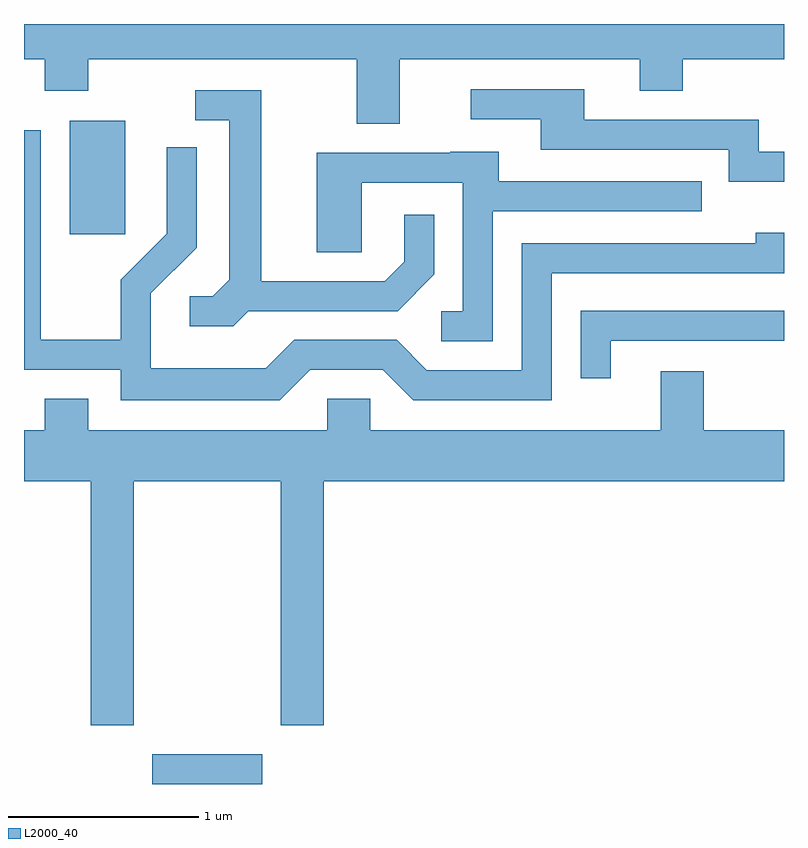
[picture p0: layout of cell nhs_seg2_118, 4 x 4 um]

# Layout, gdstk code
import gdstk
lib = gdstk.Library(unit=1e-6, precision=1e-09)
def R(c, l, rs):  # rectangles x0, y0, x1, y1
    for r in rs: c.add(gdstk.rectangle(r[:2], r[2:], *l))
def P(c, l, *ps):  # polygons
    for p in ps: c.add(gdstk.Polygon(p, *l))
L2000_40 = (2000, 40)

nhs_seg2_118 = lib.new_cell('nhs_seg2_118')
R(nhs_seg2_118, L2000_40, [(188.286,1077.802,188.864,1077.959), (187.851,1080.696,188.144,1081.294)])
P(nhs_seg2_118, L2000_40, [(189.589,1081.616),(190.851,1081.616),(190.851,1081.451),(191.079,1081.451),(191.079,1081.616),(191.611,1081.616),(191.611,1081.802),(187.611,1081.802),(187.611,1081.616),(187.721,1081.616),(187.721,1081.451),(187.949,1081.451),(187.949,1081.616),(189.361,1081.616),(189.361,1081.276),(189.589,1081.276)],
  [(191.611,1081.129),(191.479,1081.129),(191.479,1081.299),(190.559,1081.299),(190.559,1081.459),(189.963,1081.459),(189.963,1081.301),(190.331,1081.301),(190.331,1081.141),(191.321,1081.141),(191.321,1080.971),(191.611,1080.971)],
  [(188.792,1080.291),(189.577,1080.291),(189.769,1080.484),(189.769,1080.798),(189.611,1080.798),(189.611,1080.552),(189.509,1080.449),(188.859,1080.449),(188.859,1081.454),(188.513,1081.454),(188.513,1081.296),(188.691,1081.296),(188.691,1080.457),(188.604,1080.369),(188.483,1080.369),(188.483,1080.211),(188.712,1080.211)],
  [(189.117,1079.981),(189.499,1079.981),(189.659,1079.821),(190.389,1079.821),(190.389,1080.491),(191.611,1080.491),(191.611,1080.704),(191.461,1080.704),(191.461,1080.649),(190.231,1080.649),(190.231,1079.979),(189.732,1079.979),(189.572,1080.139),(189.034,1080.139),(188.884,1079.989),(188.279,1079.989),(188.279,1080.384),(188.519,1080.624),(188.519,1081.153),(188.361,1081.153),(188.361,1080.697),(188.121,1080.457),(188.121,1080.139),(187.699,1080.139),(187.699,1081.244),(187.611,1081.244),(187.611,1079.981),(188.121,1079.981),(188.121,1079.821),(188.957,1079.821)],
  [(190.079,1080.816),(191.178,1080.816),(191.178,1080.974),(190.109,1080.974),(190.109,1081.129),(189.855,1081.129),(189.855,1081.124),(189.151,1081.124),(189.151,1080.601),(189.389,1080.601),(189.389,1080.966),(189.921,1080.966),(189.921,1080.289),(189.808,1080.289),(189.808,1080.131),(190.079,1080.131)],
  [(190.699,1080.136),(191.611,1080.136),(191.611,1080.294),(190.541,1080.294),(190.541,1079.938),(190.699,1079.938)],
  [(188.189,1079.396),(188.961,1079.396),(188.961,1078.111),(189.189,1078.111),(189.189,1079.396),(191.611,1079.396),(191.611,1079.664),(191.189,1079.664),(191.189,1079.974),(190.961,1079.974),(190.961,1079.664),(189.434,1079.664),(189.434,1079.829),(189.206,1079.829),(189.206,1079.664),(187.949,1079.664),(187.949,1079.829),(187.721,1079.829),(187.721,1079.664),(187.611,1079.664),(187.611,1079.396),(187.961,1079.396),(187.961,1078.111),(188.189,1078.111)])

lib.write_gds('nhs_seg2_118.gds')
